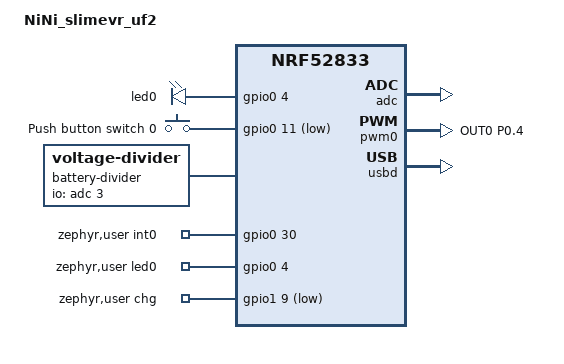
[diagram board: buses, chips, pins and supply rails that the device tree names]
// Copyright (c) 2024 Nordic Semiconductor ASA
// SPDX-License-Identifier: Apache-2.0

/dts-v1/;
#include <nordic/nrf52833_qdaa.dtsi>

//move to dtsi?

&pinctrl {
	pwm0_default: pwm0_default {
		group1 {
			psels = <NRF_PSEL(PWM_OUT0, 0, 4)>;
			nordic,drive-mode = <NRF_DRIVE_D0S1>;
		};
	};

	pwm0_sleep: pwm0_sleep {
		group1 {
			psels = <NRF_PSEL(PWM_OUT0, 0, 4)>;
			low-power-enable;
		};
	};


	spi3_default: spi3_default {
		group1 {
			psels = <NRF_PSEL(SPIM_MISO, 0, 2)>,
					<NRF_PSEL(SPIM_MOSI, 0, 28)>,
					<NRF_PSEL(SPIM_SCK, 0, 29)>;
		};
	};

	spi3_sleep: spi3_sleep {
		group1 {
			psels = <NRF_PSEL(SPIM_MISO, 0, 2)>,
					<NRF_PSEL(SPIM_MOSI, 0, 28)>,
					<NRF_PSEL(SPIM_SCK, 0, 29)>;
			low-power-enable;
		};
	};
};
//end

/ {
	model = "NiNi_slimevr_uf2";
	compatible = "NiNi_slimevr_uf2";

	chosen {
		zephyr,sram = &sram0;
		zephyr,flash = &flash0;
		zephyr,console = &cdc_acm_uart0;
		zephyr,shell-uart = &cdc_acm_uart0;
	};

	leds {
		compatible = "gpio-leds";
		led0: led_0 {
			gpios = <&gpio0 4 GPIO_OPEN_SOURCE>;
		};
	};

	buttons {
		compatible = "gpio-keys";
		button0: button_0 {
			gpios = <&gpio0 11 (GPIO_PULL_UP | GPIO_ACTIVE_LOW)>;
			label = "Push button switch 0";
		};
	};

	aliases {
		sw0 = &button0;
		led0 = &led0;
	};

	battery-divider {
		compatible = "voltage-divider";
		status = "okay";
		io-channels = <&adc 3>;
		output-ohms = <40200>;
		full-ohms = <(100000+40200)>;
	};

	zephyr,user {
		int0-gpios = <&gpio0 30 0>;
		led0-gpios = <&gpio0 4 (GPIO_OPEN_SOURCE)>;
		chg-gpios = <&gpio1 9 (GPIO_ACTIVE_LOW | GPIO_PULL_UP)>;
	};
};


&reg1 {
	regulator-initial-mode = <NRF5X_REG_MODE_DCDC>;
};

&adc {
	status = "okay";
};

&gpiote {
	status = "okay";
};

&gpio0 {
	status = "okay";
};

&gpio1 {
	status = "okay";
};

&pwm0 {
	status = "okay";
	pinctrl-0 = <&pwm0_default>;
	pinctrl-1 = <&pwm0_sleep>;
	pinctrl-names = "default", "sleep";
};

zephyr_udc0: &usbd {
	compatible = "nordic,nrf-usbd";
	status = "okay";
	cdc_acm_uart0: cdc_acm_uart0 {
		compatible = "zephyr,cdc-acm-uart";
	};
};

&nfct {
	status = "disabled";
};

&spi2 {
	status = "enable";
	compatible = "nordic,nrf-spim";
	pinctrl-0 = <&spi2_default>;
	pinctrl-1 = <&spi2_sleep>;
	pinctrl-names = "default", "sleep";
	cs-gpios = <&gpio0 3 GPIO_ACTIVE_LOW>;

	imu_spi: imu@0 {
		compatible = "vnd,spi-device";
		spi-max-frequency = <DT_FREQ_M(24)>;
		label = "imu-spi";
		reg = <0>;
	};
};

